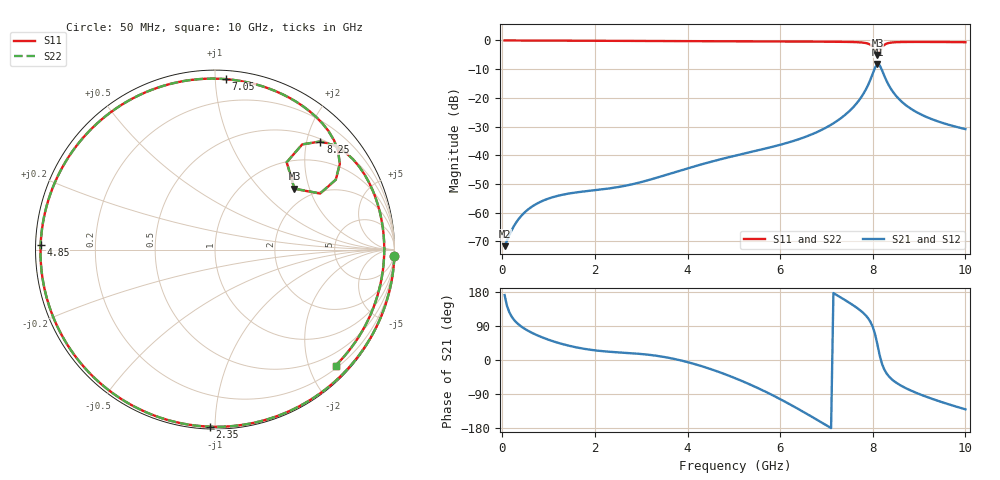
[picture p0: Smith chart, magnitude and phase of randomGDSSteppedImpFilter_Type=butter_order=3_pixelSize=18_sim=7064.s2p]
! freq	dB(S11)	phase(S11)	dB(S12)	phase(S12)
!  dB(S21)	phase(S21)	dB(S22)	phase(S22)
!S-par simulation data
#  GHz  S  DB  R 50
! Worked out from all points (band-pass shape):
!   200 points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, 50 MHz to 10 GHz, reference 50 ohm
!   highest |S21| = -8.19 dB at 8.1 GHz (marker M1); lowest = -71.7 dB at 50 MHz (marker M2)
!   |S21| within 3 dB of the highest: 8.008 GHz to 8.22 GHz (211.5 MHz wide, 2.61 % of centre)
!   lowest |S11| = -5.1 dB at 8.1 GHz (marker M3), VSWR 3.52, Z = 81 + j79.6 ohm
!   |S11| at or under -10 dB: nowhere
!   |S22| runs from -5.1 to 0.0 dB; largest |S21 - S12| = 0
!   S11 on the Smith chart (normalised r, x): 50 MHz: 0, -56; 2.35 GHz: 0.01, -0.97; 4.85 GHz: 0.01, +0.01; 7.05 GHz: 0.05, +1.06; 8.25 GHz: 0.55, +2.26; 10 GHz: 0.25, -2.46
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0.05  -0.00 -2.0  -71.72 171.3  -71.72 171.3  -0.00 -2.0
0.3  -0.01 -12.2  -63.45 99.7  -63.45 99.7  -0.01 -12.2
0.6  -0.02 -24.3  -58.38 74.2  -58.38 74.2  -0.02 -24.3
1.75  -0.09 -69.2  -52.66 29.9  -52.66 29.9  -0.09 -69.2
2.35  -0.11 -91.6  -51.49 21.4  -51.49 21.4  -0.11 -91.6
3.4  -0.16 -129.4  -47.53 9.9  -47.53 9.9  -0.16 -129.4
4.15  -0.20 -156.0  -43.89 -10.6  -43.89 -10.6  -0.20 -156.0
4.85  -0.25 178.5  -40.87 -39.4  -40.87 -39.4  -0.25 178.5
5.05  -0.26 171.0  -40.09 -49.0  -40.09 -49.0  -0.26 171.0
5.85  -0.32 139.5  -37.01 -93.8  -37.01 -93.8  -0.32 139.5
6.7  -0.39 102.7  -32.62 -150.9  -32.62 -150.9  -0.39 102.8
7.05  -0.43 86.4  -29.85 -176.1  -29.85 -176.1  -0.43 86.4
7.55  -0.54 61.1  -23.75 146.6  -23.75 146.6  -0.54 61.1
7.9  -1.12 38.7  -15.49 110.1  -15.49 110.1  -1.12 38.8
8  -2.19 30.0  -11.54 87.4  -11.54 87.4  -2.19 30.1
8.1  -5.08 37.4  -8.19 41.0  -8.19 41.0  -5.07 37.5
8.15  -4.02 50.6  -8.66 12.0  -8.66 12.0  -4.01 50.6
8.25  -1.51 45.7  -12.37 -25.4  -12.37 -25.4  -1.50 45.8
8.35  -0.86 36.9  -15.72 -43.6  -15.72 -43.6  -0.86 36.9
8.65  -0.54 18.0  -21.71 -70.4  -21.71 -70.4  -0.54 18.1
9.05  -0.51 -2.1  -25.87 -92.1  -25.87 -92.1  -0.51 -2.1
10  -0.61 -43.9  -30.90 -130.2  -30.90 -130.2  -0.61 -43.9
